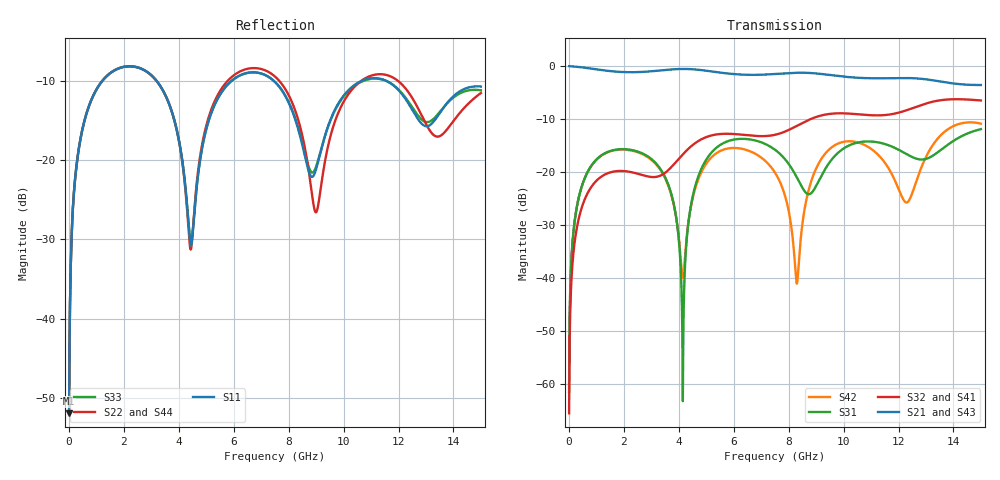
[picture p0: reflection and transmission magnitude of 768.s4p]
! Created with skrf 1.8.0 (http://scikit-rf.org).
# GHz S RI R 50.0
!freq ReS11 ImS11 ReS12 ImS12 ReS13 ImS13
! ReS14 ImS14
! ReS21 ImS21 ReS22 ImS22 ReS23 ImS23
! ReS24 ImS24
! ReS31 ImS31 ReS32 ImS32 ReS33 ImS33
! ReS34 ImS34
! ReS41 ImS41 ReS42 ImS42 ReS43 ImS43
! ReS44 ImS44
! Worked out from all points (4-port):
!   2499 points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, 5 MHz to 15 GHz, reference 50 ohm
!   strongest paths, dB at 5 MHz, 3.476 GHz, 7.19 GHz, 11.1 GHz, 15 GHz:
!     S21: 0.0, -0.7, -1.6, -2.3, -3.6
!     S43: 0.0, -0.7, -1.6, -2.3, -3.6
!     S32: -65.6, -20.2, -13.2, -9.3, -6.5
!     S41: -65.6, -20.3, -13.3, -9.4, -6.6
!     S31: -61.5, -20.7, -14.8, -14.3, -11.9
!     S42: -61.5, -20.9, -18.1, -16.0, -10.9
!   lowest |S11| = -51.9 dB at 5 MHz (marker M1), VSWR 1.01, Z = 50.2 + j0.153 ohm
!   |S11| at or under -10 dB: 3.182 GHz to 5.93 GHz (2.748 GHz wide, 60.3 % of centre); 7.447 GHz to 10.68 GHz (3.233 GHz wide, 35.7 % of centre); 11.54 GHz to end of sweep (the widest 3 of 4)
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0.005  0.00201 0.00153  0.9979 -0.00392  0.000104 0.000833  -0.0001 -0.000517
       0.9979 -0.00392  0.00201 0.00153  -0.0001 -0.000517  0.000104 0.000833
       0.000104 0.000833  -0.0001 -0.000517  0.00201 0.00153  0.9979 -0.00392
       -0.0001 -0.000517  0.000104 0.000833  0.9979 -0.00392  0.00201 0.00153
1.3193  0.2828 0.1705  0.5184 -0.745  0.1394 0.0578  -0.0948 -0.000918
        0.5184 -0.745  0.2838 0.1698  -0.095 -0.00065  0.1363 0.0623
        0.1394 0.0578  -0.095 -0.00065  0.2827 0.1706  0.5184 -0.745
        -0.0948 -0.000918  0.1363 0.0623  0.5184 -0.745  0.284 0.1696
4.142273  0.0458 -0.0825  -0.8973 -0.2779  0.000672 -0.000549  -0.0407 0.1407
          -0.8973 -0.2779  0.0432 -0.0818  -0.037 0.1417  -0.00986 -0.00156
          0.000672 -0.000549  -0.037 0.1417  0.0468 -0.0821  -0.8973 -0.2778
          -0.0407 0.1407  -0.00986 -0.00156  -0.8973 -0.2778  0.0421 -0.0821
5.283451  0.1527 0.1566  -0.7595 0.4512  0.1435 0.0749  0.1439 0.1709
          -0.7595 0.4512  0.1621 0.163  0.1486 0.1678  0.1041 0.1006
          0.1435 0.0749  0.1486 0.1678  0.1528 0.156  -0.7592 0.4514
          0.1439 0.1709  0.1041 0.1006  -0.7592 0.4514  0.1624 0.1642
8.959983  0.0804 0.0218  0.8466 0.1109  -0.0301 0.064  0.0426 -0.3254
          0.8466 0.1109  0.046 -0.0115  0.0262 -0.3269  0.037 0.0952
          -0.0301 0.064  0.0262 -0.3269  0.0851 0.0188  0.8464 0.1111
          0.0426 -0.3254  0.037 0.0952  0.8464 0.1111  0.0433 -0.0123
11.69862  0.3006 -0.054  -0.0978 -0.7627  0.0365 -0.1726  -0.3418 0.0642
          -0.0978 -0.7627  0.3311 -0.0622  -0.3381 0.0889  0.0506 -0.0883
          0.0365 -0.1726  -0.3381 0.0889  0.3016 -0.0491  -0.0984 -0.7619
          -0.3418 0.0642  0.0506 -0.0883  -0.0984 -0.7619  0.3339 -0.0661
15  0.288 -0.0348  -0.4737 0.4638  0.2537 0.00681  0.381 0.2692
    -0.4737 0.4638  0.2613 0.0371  0.4063 0.2432  0.2675 0.1012
    0.2537 0.00681  0.4063 0.2432  0.2722 -0.0368  -0.4735 0.465
    0.381 0.2692  0.2675 0.1012  -0.4735 0.465  0.2738 0.0385
